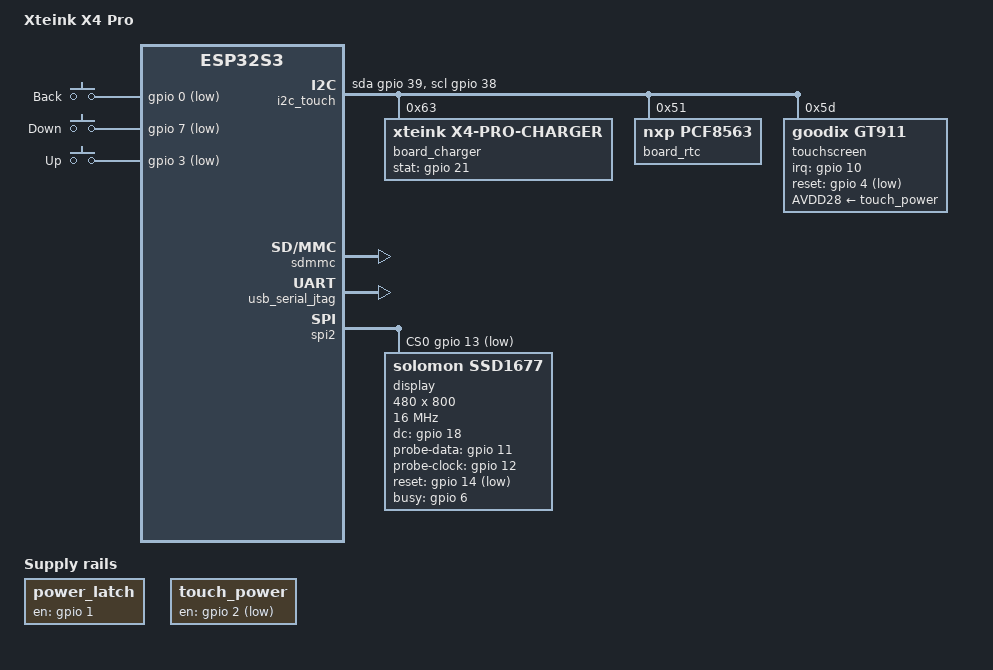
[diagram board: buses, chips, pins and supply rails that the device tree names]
// SPDX-FileCopyrightText: 2026 Core Devices LLC
// SPDX-License-Identifier: (GPL-2.0-only OR BSD-2-Clause)

/dts-v1/;

// Xteink X4 Pro e-reader: ESP32-S3 (16 MiB flash, 8 MiB octal PSRAM), 800x480 e-paper,
// digital buttons, GT911 touch, dual PWM frontlight, CW2017 fuel gauge, BM8563 RTC.
// Hardware pinout confirmed by CrossPoint / FreeInk (MIT).
//
// Peripherals wired on the board awaiting drivers:
//   - Shared I2C bus: CW2017 fuel gauge @0x63, BM8563 RTC @0x51
//   - Dual PWM frontlight (LEDC 25 kHz / 10-bit, active-HIGH): Cool=GPIO8, Warm=GPIO9
//   - Charger STAT: GPIO21 (active-HIGH)
//   - SDMMC 1-bit: CLK=GPIO41, CMD=GPIO42, D0=GPIO40, power=GPIO5 (active-LOW)

#include <dt-bindings/gpio/gpio.h>
#include <dt-bindings/input/input.h>
#include <dt-bindings/interrupt-controller/irq.h>
#include <dt-bindings/pinctrl/esp32s3-pinctrl.h>

#include "espressif/esp32s3.dtsi"

/ {
	model = "Xteink X4 Pro";
	compatible = "xteink,x4-pro", "esp,esp32s3";

	chosen {
		stdout-path = &usb_serial_jtag;
	};

	frontlight: frontlight {
		compatible = "xteink,x4-pro-frontlight";
		pinctrl-0 = <&light_pins>;
		pinctrl-names = "default";
	};

	i2c_touch: i2c {
		compatible = "i2c-gpio";
		#address-cells = <1>;
		#size-cells = <0>;
		sda-gpios = <&gpio 39 (GPIO_OPEN_DRAIN | GPIO_PULL_UP)>;
		scl-gpios = <&gpio 38 (GPIO_OPEN_DRAIN | GPIO_PULL_UP)>;
	};

	// Master peripheral rail / power latch: driven HIGH from reset
	power_latch: regulator-latch {
		compatible = "regulator-fixed";
		regulator-name = "latch";
		gpios = <&gpio 1 GPIO_ACTIVE_HIGH>;
		enable-active-high;
		regulator-always-on;
	};

	// GT911 touch controller power rail: active-LOW enable on GPIO2
	touch_power: regulator-touch {
		compatible = "regulator-fixed";
		regulator-name = "touch-power";
		startup-delay-us = <50000>;
		gpios = <&gpio 2 GPIO_ACTIVE_LOW>;
		regulator-always-on;
	};

	// Hardware-confirmed active-low digital keys (Left=GPIO0, Right=GPIO7, Power=GPIO3)
	gpio-keys {
		compatible = "gpio-keys";

		button-back {
			label = "Back";
			gpios = <&gpio 0 (GPIO_ACTIVE_LOW | GPIO_PULL_UP)>;
			linux,code = <KEY_BACK>;
			debounce-interval = <20>;
		};

		button-down {
			label = "Down";
			gpios = <&gpio 7 (GPIO_ACTIVE_LOW | GPIO_PULL_UP)>;
			linux,code = <KEY_DOWN>;
			debounce-interval = <20>;
		};

		button-up {
			label = "Up";
			gpios = <&gpio 3 (GPIO_ACTIVE_LOW | GPIO_PULL_UP)>;
			linux,code = <KEY_UP>;
			debounce-interval = <20>;
		};
	};

	flash0: flash@0 {
		compatible = "esp,esp32s3-flash";
		reg = <0x0 0x1000000>;

		partitions {
			compatible = "fixed-partitions";
			#address-cells = <1>;
			#size-cells = <1>;

			partition@0 {
				label = "code";
				reg = <0x0 0x400000>;
			};
		};
	};
};

&gpio {
	status = "okay";
};

&usb_serial_jtag {
	status = "okay";
};

&io_mux {
	light_pins: frontlight-pins {
		out-pins {
			pinmux = <ESP32S3_PINMUX(8, ESP32S3_NOSIG, 77)>,
				 <ESP32S3_PINMUX(9, ESP32S3_NOSIG, 78)>;
		};
	};
	spi2_default: spi2-default-state {
		// Panel writes use SPI; controller identification reads back on GPIO11.
		out-pins {
			pinmux = <ESP32S3_PINMUX(12, ESP32S3_NOSIG, ESP32S3_SIG_FSPICLK)>,
				 <ESP32S3_PINMUX(11, ESP32S3_NOSIG, ESP32S3_SIG_FSPID)>;
		};
	};
};

&spi2 {
	pinctrl-0 = <&spi2_default>;
	pinctrl-names = "default";
	cs-gpios = <&gpio 13 GPIO_ACTIVE_LOW>;
	status = "okay";

	display: display@0 {
		compatible = "solomon,ssd1677";
		reg = <0>;
		spi-max-frequency = <16000000>;
		dc-gpios = <&gpio 18 GPIO_ACTIVE_HIGH>;
		probe-data-gpios = <&gpio 11 GPIO_PULL_UP>;
		probe-clock-gpios = <&gpio 12 GPIO_ACTIVE_HIGH>;
		pinctrl-0 = <&spi2_default>;
		pinctrl-names = "default";
		reset-gpios = <&gpio 14 GPIO_ACTIVE_LOW>;
		busy-gpios = <&gpio 6 GPIO_ACTIVE_HIGH>;
		width = <480>;
		height = <800>;
		panel-width = <480>;
		panel-height = <800>;
		rotation = <270>;
		fast-frames = <3>;
		fast-differential;
		topup-frames = <10>;
		full-refresh-on-idle;
		power-off-idle-ms = <15000>;
	};
};

&i2c_touch {
	board_charger: fuel-gauge@63 {
		compatible = "xteink,x4-pro-charger";
		reg = <0x63>;
		stat-gpios = <&gpio 21 GPIO_ACTIVE_HIGH>;
	};

	board_rtc: rtc@51 {
		compatible = "nxp,pcf8563";
		reg = <0x51>;
	};

	touchscreen: touchscreen@5d {
		compatible = "goodix,gt911";
		reg = <0x5d>;
		interrupt-parent = <&gpio>;
		interrupts = <10 IRQ_TYPE_EDGE_BOTH>;
		irq-gpios = <&gpio 10 GPIO_ACTIVE_HIGH>;
		reset-gpios = <&gpio 4 GPIO_ACTIVE_LOW>;
		AVDD28-supply = <&touch_power>;
		touchscreen-size-x = <480>;
		touchscreen-size-y = <800>;
	};
};

&io_mux {
	sd_default: sd-default-state {
		clock {
			pinmux = <ESP32S3_PINMUX(41, ESP32S3_NOSIG, 173)>;
		};
		data {
			// Slot 1 command and DAT0 in both directions.
			pinmux = <ESP32S3_PINMUX(42, 179, 179)>,
				 <ESP32S3_PINMUX(40, 213, 213)>;
			bias-pull-up;
		};
	};
};

/ {
	sdmmc: mmc@60028000 {
		compatible = "esp,esp32s3-sdmmc";
		reg = <0x60028000 0x1000>;
		pinctrl-names = "default";
		pinctrl-0 = <&sd_default>;
		power-gpios = <&gpio 5 GPIO_ACTIVE_LOW>;
	};
};

&cpu0 {
	clock-frequency = <240000000>;
};

&clk_apb {
	clock-frequency = <80000000>;
};
